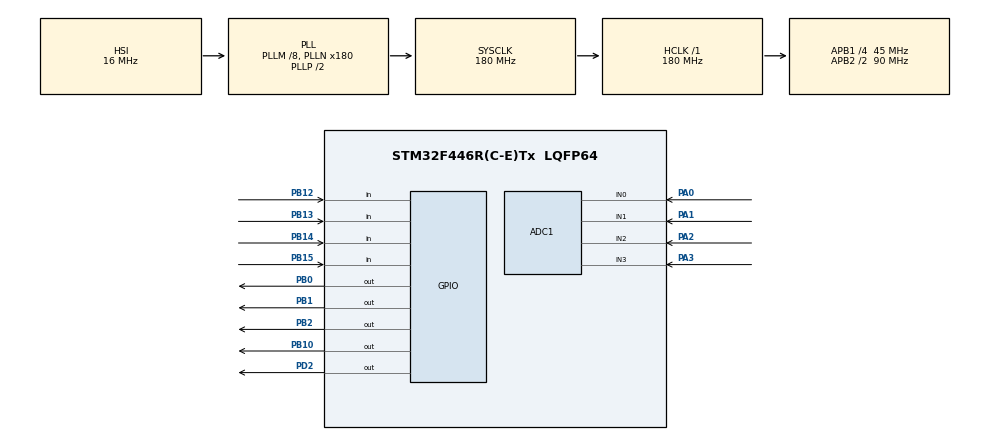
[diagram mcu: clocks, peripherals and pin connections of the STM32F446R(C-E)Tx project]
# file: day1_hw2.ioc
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ADC1.Channel-0\#ChannelRegularConversion=ADC_CHANNEL_0
ADC1.Channel-1\#ChannelRegularConversion=ADC_CHANNEL_1
ADC1.Channel-2\#ChannelRegularConversion=ADC_CHANNEL_2
ADC1.Channel-3\#ChannelRegularConversion=ADC_CHANNEL_3
ADC1.DMAContinuousRequests=ENABLE
ADC1.ExternalTrigConv=ADC_EXTERNALTRIGCONV_T8_TRGO
ADC1.NbrOfConversion=4
ADC1.NbrOfConversionFlag=1
ADC1.Rank-0\#ChannelRegularConversion=1
ADC1.Rank-1\#ChannelRegularConversion=2
ADC1.Rank-2\#ChannelRegularConversion=3
ADC1.Rank-3\#ChannelRegularConversion=4
ADC1.SamplingTime-0\#ChannelRegularConversion=ADC_SAMPLETIME_15CYCLES
ADC1.SamplingTime-1\#ChannelRegularConversion=ADC_SAMPLETIME_15CYCLES
ADC1.SamplingTime-2\#ChannelRegularConversion=ADC_SAMPLETIME_15CYCLES
ADC1.SamplingTime-3\#ChannelRegularConversion=ADC_SAMPLETIME_15CYCLES
ADC1.ScanConvMode=ENABLE
ADC1.master=1
Dma.ADC1.0.Direction=DMA_PERIPH_TO_MEMORY
Dma.ADC1.0.FIFOMode=DMA_FIFOMODE_DISABLE
Dma.ADC1.0.Instance=DMA2_Stream0
Dma.ADC1.0.MemDataAlignment=DMA_MDATAALIGN_WORD
Dma.ADC1.0.MemInc=DMA_MINC_ENABLE
Dma.ADC1.0.Mode=DMA_CIRCULAR
Dma.ADC1.0.PeriphDataAlignment=DMA_PDATAALIGN_WORD
Dma.ADC1.0.PeriphInc=DMA_PINC_DISABLE
Dma.ADC1.0.Priority=DMA_PRIORITY_LOW
Dma.Request0=ADC1
Mcu.Family=STM32F4
Mcu.Name=STM32F446R(C-E)Tx
Mcu.Package=LQFP64
NVIC.ADC_IRQn=true\:0\:0\:false\:false\:true\:true\:true\:true
NVIC.DMA2_Stream0_IRQn=true\:0\:0\:false\:false\:true\:false\:true\:true
NVIC.PriorityGroup=NVIC_PRIORITYGROUP_4
NVIC.TIM8_UP_TIM13_IRQn=true\:0\:0\:false\:false\:true\:true\:true\:true
PA0-WKUP.Signal=ADCx_IN0
PA1.Signal=ADCx_IN1
PA13.Mode=Serial_Wire
PA13.Signal=SYS_JTMS-SWDIO
PA14.Mode=Serial_Wire
PA14.Signal=SYS_JTCK-SWCLK
PA2.Signal=ADCx_IN2
PA3.Signal=ADCx_IN3
PB0.Signal=GPIO_Output
PB1.Signal=GPIO_Output
PB10.Signal=GPIO_Output
PB12.Signal=GPIO_Input
PB13.Signal=GPIO_Input
PB14.Signal=GPIO_Input
PB15.Signal=GPIO_Input
PB2.Signal=GPIO_Output
PD2.Signal=GPIO_Output
PH0-OSC_IN.Mode=HSE-External-Oscillator
PH0-OSC_IN.Signal=RCC_OSC_IN
PH1-OSC_OUT.Mode=HSE-External-Oscillator
PH1-OSC_OUT.Signal=RCC_OSC_OUT
ProjectManager.HeapSize=0x200
ProjectManager.StackSize=0x400
ProjectManager.TargetToolchain=STM32CubeIDE
RCC.AHBFreq_Value=180000000
RCC.APB1CLKDivider=RCC_HCLK_DIV4
RCC.APB1Freq_Value=45000000
RCC.APB1TimFreq_Value=90000000
RCC.APB2CLKDivider=RCC_HCLK_DIV2
RCC.APB2Freq_Value=90000000
RCC.APB2TimFreq_Value=180000000
RCC.CortexFreq_Value=180000000
RCC.HCLKFreq_Value=180000000
RCC.HSE_VALUE=16000000
RCC.PLLM=8
RCC.PLLN=180
RCC.SYSCLKFreq_VALUE=180000000
RCC.SYSCLKSource=RCC_SYSCLKSOURCE_PLLCLK
RCC.USBFreq_Value=180000000
RCC.VCOOutputFreq_Value=360000000
SH.ADCx_IN0.0=ADC1_IN0,IN0
SH.ADCx_IN1.0=ADC1_IN1,IN1
SH.ADCx_IN2.0=ADC1_IN2,IN2
SH.ADCx_IN3.0=ADC1_IN3,IN3
TIM8.Period=10000-1
TIM8.Prescaler=180-1
TIM8.TIM_MasterOutputTrigger=TIM_TRGO_UPDATE
VP_TIM8_VS_ClockSourceINT.Mode=Internal
board=custom

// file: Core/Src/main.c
/* USER CODE BEGIN Header */
/**
  ******************************************************************************
  * @file           : main.c
  * @brief          : Main program body
  ******************************************************************************
  * @attention
  *
  * Copyright (c) 2026 STMicroelectronics.
  * All rights reserved.
  *
  * This software is licensed under terms that can be found in the LICENSE file
  * in the root directory of this software component.
  * If no LICENSE file comes with this software, it is provided AS-IS.
  *
  ******************************************************************************
  */
/* USER CODE END Header */
#include "main.h"
#include "adc.h"
#include "dma.h"
#include "tim.h"
#include "gpio.h"

/* USER CODE BEGIN PTD */
#define MA_WINDOW           8u

/* 이동평균 상태. 3단계 요구대로 채널마다 하나씩 따로 가져야 한다 */
typedef struct
{
  uint32_t buf[MA_WINDOW];
  uint32_t sum;
  uint8_t  idx;
  uint8_t  count;
} MovAvg_t;
/* USER CODE END PTD */

/* USER CODE BEGIN PD */
#define ADC_CH_NUM          4u
#define PSD_CH              0u          /* PSD 가 연결된 채널. 나머지는 미연결 */

/* PSD 는 가까울수록 출력이 높다. MAX 가 최근접, MIN 이 최원거리다.
 * psd_obs_min / psd_obs_max 를 읽어서 이 두 값에 옮겨 적는다 */
#define PSD_RAW_MIN         300u
#define PSD_RAW_MAX         3500u
#define PSD_NORM_MAX        1000u
/* USER CODE END PD */

/* USER CODE BEGIN PV */
/* DMA 가 CPU 몰래 갱신하므로 volatile. 없으면 컴파일러가 읽기를 캐싱해 버린다 */
volatile uint32_t adc1_buffer[ADC_CH_NUM] = {0, };
volatile uint8_t  adc_updated_flag = 0;

/* 2-2 : 원본과 이동평균 출력 */
uint32_t adc_raw[ADC_CH_NUM]      = {0, };
uint32_t adc_filtered[ADC_CH_NUM] = {0, };

/* 2-3 : 최근 MA_WINDOW 구간의 변동폭. 필터 효과를 숫자로 비교한다 */
uint32_t adc_raw_pp[ADC_CH_NUM]   = {0, };
uint32_t adc_flt_pp[ADC_CH_NUM]   = {0, };

/* 2-1 : 정규화 결과. 0 = 최원거리, 1000 = 최근접 */
uint16_t psd_norm[ADC_CH_NUM]     = {0, };

/* 2-1 캘리브레이션용. 물체를 움직이며 관측된 범위가 여기 쌓인다 */
uint32_t psd_obs_min[ADC_CH_NUM]  = {0, };
uint32_t psd_obs_max[ADC_CH_NUM]  = {0, };

static MovAvg_t g_ma[ADC_CH_NUM];        /* 3단계 : 채널마다 독립된 필터 상태 */
static MovAvg_t g_flt_hist[ADC_CH_NUM];  /* 필터 출력 이력. 변동폭 계산용 */
/* USER CODE END PV */

void SystemClock_Config(void);
/* USER CODE BEGIN PFP */
static void     movavg_init(MovAvg_t *f);
static uint32_t movavg_update(MovAvg_t *f, uint32_t sample);
static uint32_t window_pp(const MovAvg_t *f);
static uint16_t psd_normalize(uint32_t raw);
/* USER CODE END PFP */

/* USER CODE BEGIN 0 */
static void movavg_init(MovAvg_t *f)
{
  uint8_t i;

  for (i = 0u; i < MA_WINDOW; i++)
  {
    f->buf[i] = 0u;
  }
  f->sum   = 0u;
  f->idx   = 0u;
  f->count = 0u;
}

/* 가장 오래된 값만 빼고 새 값을 더한다. 매번 윈도우 전체를 더하지 않는다 */
static uint32_t movavg_update(MovAvg_t *f, uint32_t sample)
{
  f->sum -= f->buf[f->idx];
  f->buf[f->idx] = sample;
  f->sum += sample;

  f->idx = (uint8_t)((f->idx + 1u) % MA_WINDOW);

  /* 윈도우가 다 차기 전에는 들어온 개수로 나눠야 초반 값이 0쪽으로 끌리지 않는다 */
  if (f->count < MA_WINDOW)
  {
    f->count++;
  }
  return f->sum / f->count;
}

/* 윈도우 안의 최대-최소. 원본과 필터의 흔들림 폭을 숫자로 비교하기 위한 것 */
static uint32_t window_pp(const MovAvg_t *f)
{
  uint32_t lo, hi;
  uint8_t  i;

  if (f->count == 0u)
  {
    return 0u;
  }

  lo = f->buf[0];
  hi = f->buf[0];

  for (i = 1u; i < f->count; i++)
  {
    if (f->buf[i] < lo) { lo = f->buf[i]; }
    if (f->buf[i] > hi) { hi = f->buf[i]; }
  }
  return hi - lo;
}

/* Min-Max Normalization. 전압에 비례하므로 결과는 거리가 아니라 가까운 정도다 */
static uint16_t psd_normalize(uint32_t raw)
{
  if (raw <= PSD_RAW_MIN)
  {
    return 0u;
  }
  if (raw >= PSD_RAW_MAX)
  {
    return (uint16_t)PSD_NORM_MAX;
  }
  return (uint16_t)(((raw - PSD_RAW_MIN) * PSD_NORM_MAX) / (PSD_RAW_MAX - PSD_RAW_MIN));
}
/* USER CODE END 0 */

int main(void)
{

  /* MCU Configuration--------------------------------------------------------*/

  /* Reset of all peripherals, Initializes the Flash interface and the Systick. */
  HAL_Init();

  /* Configure the system clock */
  SystemClock_Config();

  /* Initialize all configured peripherals */
  MX_GPIO_Init();
  MX_DMA_Init();
  MX_ADC1_Init();
  MX_TIM8_Init();
  /* USER CODE BEGIN 2 */
  uint8_t ch;

  for (ch = 0u; ch < ADC_CH_NUM; ch++)
  {
    movavg_init(&g_ma[ch]);
    movavg_init(&g_flt_hist[ch]);

    /* 첫 샘플이 곧바로 둘 다 갱신하도록 반대쪽 끝으로 초기화 */
    psd_obs_min[ch] = 0xFFFFFFFFu;
    psd_obs_max[ch] = 0u;
  }

  HAL_TIM_Base_Start_IT(&htim8);
  HAL_ADC_Start_DMA(&hadc1, (uint32_t *)adc1_buffer, ADC_CH_NUM);
/* USER CODE END 2 */

  /* Infinite loop */
  while (1)
  {

    /* USER CODE BEGIN 3 */
    /* flag 가 설 때만 읽어야 4채널이 같은 주기의 값으로 맞는다 */
    if (adc_updated_flag)
    {
      adc_updated_flag = 0;

      for (ch = 0u; ch < ADC_CH_NUM; ch++)
      {
        adc_raw[ch]      = adc1_buffer[ch];
        adc_filtered[ch] = movavg_update(&g_ma[ch], adc_raw[ch]);
        psd_norm[ch]     = psd_normalize(adc_filtered[ch]);

        /* 평균은 쓰지 않고 이력만 쌓아서 변동폭을 잰다 */
        (void)movavg_update(&g_flt_hist[ch], adc_filtered[ch]);

        adc_raw_pp[ch] = window_pp(&g_ma[ch]);
        adc_flt_pp[ch] = window_pp(&g_flt_hist[ch]);

        if (adc_filtered[ch] < psd_obs_min[ch]) { psd_obs_min[ch] = adc_filtered[ch]; }
        if (adc_filtered[ch] > psd_obs_max[ch]) { psd_obs_max[ch] = adc_filtered[ch]; }
      }
    }
  }
/* USER CODE END 3 */
}

void SystemClock_Config(void)
{
  RCC_OscInitTypeDef RCC_OscInitStruct = {0};
  RCC_ClkInitTypeDef RCC_ClkInitStruct = {0};

  /** Configure the main internal regulator output voltage
  */
  __HAL_RCC_PWR_CLK_ENABLE();
  __HAL_PWR_VOLTAGESCALING_CONFIG(PWR_REGULATOR_VOLTAGE_SCALE1);

  /** Initializes the RCC Oscillators according to the specified parameters
  * in the RCC_OscInitTypeDef structure.
  */
  RCC_OscInitStruct.OscillatorType = RCC_OSCILLATORTYPE_HSI;
  RCC_OscInitStruct.HSIState = RCC_HSI_ON;
  RCC_OscInitStruct.HSICalibrationValue = RCC_HSICALIBRATION_DEFAULT;
  RCC_OscInitStruct.PLL.PLLState = RCC_PLL_ON;
  RCC_OscInitStruct.PLL.PLLSource = RCC_PLLSOURCE_HSI;
  RCC_OscInitStruct.PLL.PLLM = 8;
  RCC_OscInitStruct.PLL.PLLN = 180;
  RCC_OscInitStruct.PLL.PLLP = RCC_PLLP_DIV2;
  RCC_OscInitStruct.PLL.PLLQ = 2;
  RCC_OscInitStruct.PLL.PLLR = 2;
  if (HAL_RCC_OscConfig(&RCC_OscInitStruct) != HAL_OK)
  {
    Error_Handler();
  }

  /** Activate the Over-Drive mode
  */
  if (HAL_PWREx_EnableOverDrive() != HAL_OK)
  {
    Error_Handler();
  }

  /** Initializes the CPU, AHB and APB buses clocks
  */
  RCC_ClkInitStruct.ClockType = RCC_CLOCKTYPE_HCLK|RCC_CLOCKTYPE_SYSCLK
                              |RCC_CLOCKTYPE_PCLK1|RCC_CLOCKTYPE_PCLK2;
  RCC_ClkInitStruct.SYSCLKSource = RCC_SYSCLKSOURCE_PLLCLK;
  RCC_ClkInitStruct.AHBCLKDivider = RCC_SYSCLK_DIV1;
  RCC_ClkInitStruct.APB1CLKDivider = RCC_HCLK_DIV4;
  RCC_ClkInitStruct.APB2CLKDivider = RCC_HCLK_DIV2;

  if (HAL_RCC_ClockConfig(&RCC_ClkInitStruct, FLASH_LATENCY_5) != HAL_OK)
  {
    Error_Handler();
  }
}

/* USER CODE BEGIN 4 */
void HAL_ADC_ConvCpltCallback(ADC_HandleTypeDef *hadc)
{
  if (hadc->Instance == hadc1.Instance)
  {
    adc_updated_flag = 1;
  }
}
/* USER CODE END 4 */

void Error_Handler(void)
{
  __disable_irq();
  while (1)
  {
  }
}
